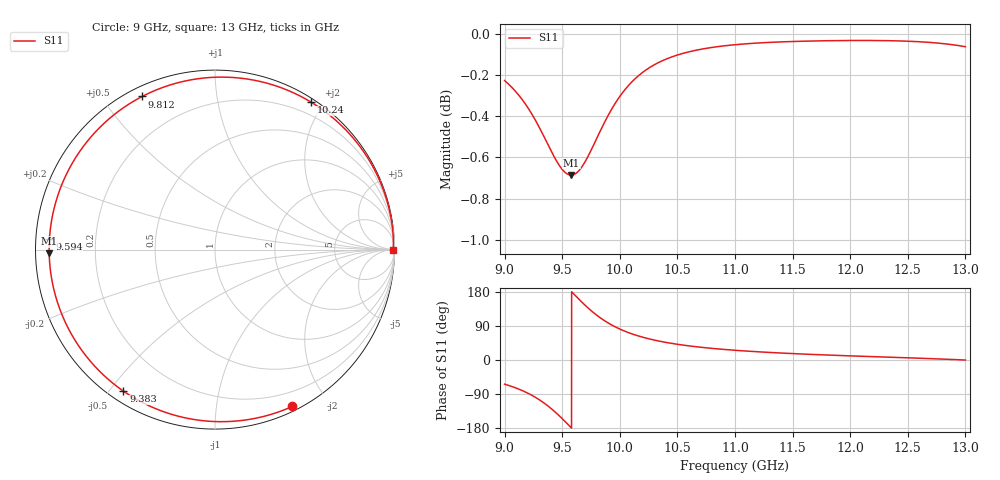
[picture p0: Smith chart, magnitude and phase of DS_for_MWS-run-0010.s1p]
! TOUCHSTONE file generated by CST DESIGN STUDIO
! Date and time: Tue Feb  4 15:41:49 2025
! Project name: C:\Work\MatlabApps\UnitCellOptimizationMatlab\CST\unitcell.cst
! Tree item: Tasks\Sweep1\SPara1\S-Parameters
! Header version: 2024
! Port assignment regex: !\s*Touchstone port\s*([0-9]+)\s*=\s*(CST MWS port|CST DES external port|CST DES block port)\s*(.+)\s* \(\"(.*)\"\)(\s*mode\s*([0-9]+))?.*
! Touchstone port assignment:
! Touchstone port 1 = CST DES external port 1 ("")
# GHz S MA R 50
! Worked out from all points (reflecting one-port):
!   4001 points, 9 GHz to 13 GHz, reference 50 ohm
!   lowest |S11| = -0.7 dB at 9.578 GHz (marker M1), VSWR 25.34, Z = 1.97 - j0.534 ohm
!   phase of S11 starts at -64 deg and turns -296 deg over the sweep
!   S11 on the Smith chart (normalised r, x): 9 GHz: 0.05, -1.61; 9.383 GHz: 0.04, -0.54; 9.594 GHz: 0.04, +0.03; 9.812 GHz: 0.04, +0.63; 10.24 GHz: 0.04, +1.85; 13 GHz: open
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9  0.9743 -63.8
9.048  0.9715 -68.4
9.116  0.9668 -75.9
9.234  0.9564 -92.7
9.313  0.9477 -107.3
9.383  0.9392 -122.9
9.441  0.9324 -137.9
9.5  0.927 -154.7
9.54  0.9248 -166.9
9.578  0.9241 -178.8
9.594  0.9242 176.2
9.649  0.9266 159.2
9.71  0.9322 141.3
9.761  0.9383 127.7
9.812  0.9448 115.4
9.853  0.95 106.6
9.897  0.9552 98.1
10  0.9657 81.7
10.113  0.9741 68.1
10.24  0.9806 56.8
10.36  0.9849 48.7
10.5  0.9883 41.5
10.72  0.9917 33.1
11  0.994 25.6
11.5  0.9958 16.9
12  0.9964 10.9
12.5  0.996 5.8
13  0.9929 -0.1
